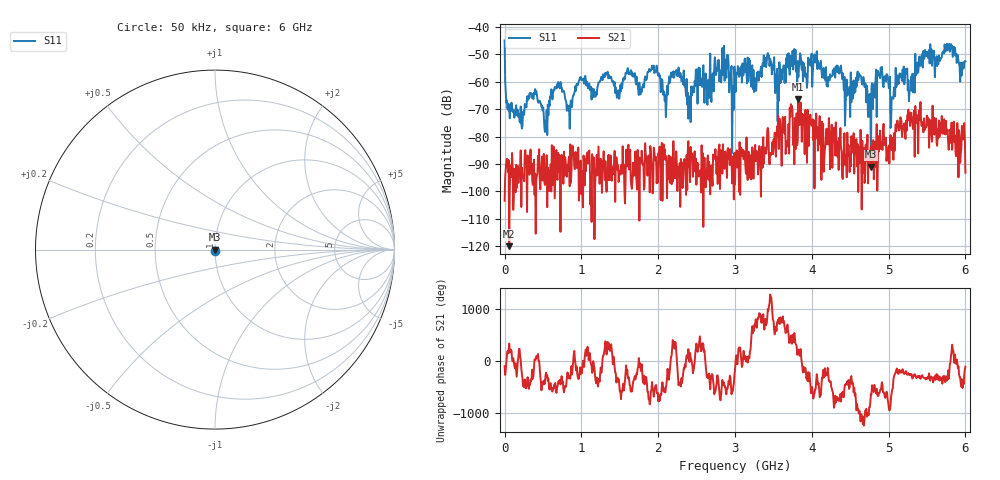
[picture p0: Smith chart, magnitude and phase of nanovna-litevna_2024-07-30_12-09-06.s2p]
! NanoVNA-App by OneOfEleven et al v1.1.209 (+OD15)
! Date: 2024-07-30 12:09:10
! Start: 50kHz Stop: 6GHz Points: 801
! S-Parameter data: F S11 S21 S12 S22
# Hz S RI R 50
!  Frequency  S11_Real  S11_Imag  S21_Real  S21_Imag  S12_Real  S12_Imag  S22_Real  S22_Imag
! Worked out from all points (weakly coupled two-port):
!   801 points, 50 kHz to 6 GHz, reference 50 ohm
!   highest |S21| = -66.27 dB at 3.825 GHz (marker M1); lowest = -120.0 dB at 60.05 MHz (marker M2)
!   lowest |S11| = -91.0 dB at 4.77 GHz (marker M3), VSWR 1.00, Z = 50 + j0.000932 ohm
!   |S11| at or under -10 dB: start of sweep to end of sweep
!   S12 and S22 are empty: the file has one direction only
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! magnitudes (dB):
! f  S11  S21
! 50 kHz  -44.9  -103.4
! 60.05 MHz  -69.7  -120.0
! 225 MHz  -77.0  -91.3
! 390 MHz  -64.6  -101.2
! 540 MHz  -76.1  -92.6
! 667.5 MHz  -62.5  -85.8
! 840 MHz  -68.7  -87.3
! 1.005 GHz  -58.9  -92.5
! 2.003 GHz  -57.8  -86.1
! 2.093 GHz  -65.0  -88.5
! 2.265 GHz  -54.7  -94.2
! 2.408 GHz  -65.3  -88.8
! 2.76 GHz  -55.2  -93.6
! 3 GHz  -60.2  -97.6
! 3.825 GHz  -58.2  -66.3
! 4.005 GHz  -61.8  -75.6
! 4.77 GHz  -91.0  -83.5
! 4.883 GHz  -57.6  -82.1
! 5.003 GHz  -62.3  -83.3
! 5.295 GHz  -58.1  -72.7
! 5.498 GHz  -49.2  -72.3
! 6 GHz  -52.5  -93.2
